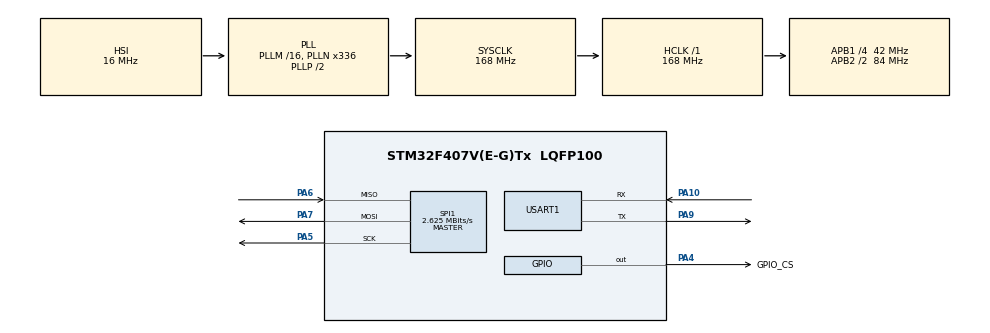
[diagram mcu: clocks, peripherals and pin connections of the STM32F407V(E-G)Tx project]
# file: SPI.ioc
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Mcu.Family=STM32F4
Mcu.Name=STM32F407V(E-G)Tx
Mcu.Package=LQFP100
NVIC.PriorityGroup=NVIC_PRIORITYGROUP_4
PA4.GPIO_Label=GPIO_CS
PA4.Signal=GPIO_Output
PA5.Mode=NSS_Signal_Hard_Or_Soft
PA5.Signal=SPI1_SCK
PA6.Mode=NSS_Signal_Hard_Or_Soft
PA6.Signal=SPI1_MISO
PA7.Mode=NSS_Signal_Hard_Or_Soft
PA7.Signal=SPI1_MOSI
PA9.Mode=Asynchronous
PA9.Signal=USART1_TX
PA10.Mode=Asynchronous
PA10.Signal=USART1_RX
PA13.Mode=Serial_Wire
PA13.Signal=SYS_JTMS-SWDIO
PA14.Mode=Serial_Wire
PA14.Signal=SYS_JTCK-SWCLK
ProjectManager.HeapSize=0x200
ProjectManager.StackSize=0x400
ProjectManager.TargetToolchain=MDK-ARM V5.32
RCC.AHBFreq_Value=168000000
RCC.APB1Freq_Value=42000000
RCC.APB1TimFreq_Value=84000000
RCC.APB2Freq_Value=84000000
RCC.APB2TimFreq_Value=168000000
RCC.HSE_VALUE=8000000
RCC.HSI_VALUE=16000000
RCC.LSE_VALUE=32768
RCC.PLLM=8
RCC.PLLN=336
RCC.PLLP=RCC_PLLP_DIV2
RCC.PLLQ=7
RCC.SYSCLKFreq_VALUE=168000000
RCC.SYSCLKSource=RCC_SYSCLKSOURCE_PLLCLK
RCC.VCOOutputFreq_Value=336000000
SPI1.CalculateBaudRate=2.625 MBits/s
SPI1.Direction=SPI_DIRECTION_2LINES
SPI1.Mode=SPI_MODE_MASTER
SPI1.BaudRatePrescaler=SPI_BAUDRATEPRESCALER_32
SPI1.VirtualType=VM_MASTER
board=custom

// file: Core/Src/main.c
/* USER CODE BEGIN Header */
/**
  ******************************************************************************
  * @file           : main.c
  * @brief          : Main program body
  ******************************************************************************
  * @attention
  *
  * Copyright (c) 2026 STMicroelectronics.
  * All rights reserved.
  *
  * This software is licensed under terms that can be found in the LICENSE file
  * in the root directory of this software component.
  * If no LICENSE file comes with this software, it is provided AS-IS.
  *
  ******************************************************************************
  */
/* USER CODE END Header */
#include "main.h"
#include "gpio.h"
#include "spi.h"
#include "usart.h"

/* USER CODE BEGIN Includes */
#include "g356_driver.h"
/* USER CODE END Includes */

void SystemClock_Config(void);

/* USER CODE BEGIN 0 */

// ==========================================================================
// G356 SPI Receiver Demo
//
// This file only demonstrates how to call the reusable G356 driver
// (g356_driver.h/.c). If you're integrating G356 into your own product,
// you only need to copy g356_driver.h/.c — the retry loop, success/fail
// statistics, and pretty-printing below are demo-only and can be deleted.
//
// Wiring and protocol details: see g356_driver.h and ../README.md.
// ==========================================================================

// ==========================================
// 调试串口输出辅助函数 (避免依赖大体积的 C 库 printf 及其浮点支持)
// ==========================================
static void G356_UART_PrintString(const char *str)
{
    while (*str) {
        HAL_UART_Transmit(&huart1, (uint8_t *)str, 1, 10);
        str++;
    }
}

static void G356_UART_PrintUint(uint32_t val)
{
    char buf[12];
    int i = 11;
    buf[i] = '\0';
    if (val == 0) {
        G356_UART_PrintString("0");
        return;
    }
    while (val > 0) {
        i--;
        buf[i] = (val % 10) + '0';
        val /= 10;
    }
    G356_UART_PrintString(&buf[i]);
}

static void G356_UART_PrintHex8(uint8_t val)
{
    const char hex_chars[] = "0123456789ABCDEF";
    char buf[3];
    buf[0] = hex_chars[(val >> 4) & 0x0F];
    buf[1] = hex_chars[val & 0x0F];
    buf[2] = '\0';
    G356_UART_PrintString(buf);
}

static void G356_UART_PrintFloat(float val, int decimals)
{
    // 处理负数
    if (val < 0.0f) {
        G356_UART_PrintString("-");
        val = -val;
    }

    // 四舍五入处理
    float rounding = 0.5f;
    for (int d = 0; d < decimals; d++) {
        rounding /= 10.0f;
    }
    val += rounding;

    // 整数部分
    uint32_t int_part = (uint32_t)val;
    G356_UART_PrintUint(int_part);

    // 小数部分
    if (decimals > 0) {
        G356_UART_PrintString(".");
        float frac = val - (float)int_part;
        for (int d = 0; d < decimals; d++) {
            frac *= 10.0f;
            uint32_t digit = (uint32_t)frac;
            G356_UART_PrintUint(digit);
            frac -= (float)digit;
        }
    }
}

/* USER CODE END 0 */

int main(void)
{

  /* MCU Configuration--------------------------------------------------------*/

  /* Reset of all peripherals, Initializes the Flash interface and the Systick. */
  HAL_Init();

  /* Configure the system clock */
  SystemClock_Config();

  /* Initialize all configured peripherals */
  MX_GPIO_Init();
  MX_SPI1_Init();
  MX_USART1_UART_Init();
  /* USER CODE BEGIN 2 */

  HAL_Delay(1000); // 等待 G356 模块内部系统彻底启动并稳定

  G356_UART_PrintString("\r\n");
  G356_UART_PrintString("=========================================\r\n");
  G356_UART_PrintString("   G356 AHRS Module SPI Receiver Demo    \r\n");
  G356_UART_PrintString("   MCU: STM32F407VET6 | Baudrate: 115200 \r\n");
  G356_UART_PrintString("   Communication: SPI1 (Mode 0, 1.31MHz) \r\n");
  G356_UART_PrintString("=========================================\r\n");
  G356_UART_PrintString("Starting data reading...\r\n");

  uint16_t rx_frame_size = 0;
  uint8_t rx_raw_buf[G356_MAX_FRAME_SIZE]; // 原始接收缓冲区
  G356_Data_t g356_data;               // 解析后的姿态数据结构体
  uint32_t success_count = 0;          // 成功包计数
  uint32_t fail_count = 0;             // 失败包计数

  /* USER CODE END 2 */

  /* Infinite loop */
  while (1)
  {

    /* USER CODE BEGIN 3 */
    HAL_Delay(10); // 实现约 100Hz 的轮询读取速率

    // 尝试从 SPI 读取一个当前格式数据包 (带 2 次立即重试，消除主从机异步复位碰撞)
    bool read_ok = false;
    for (int retry = 0; retry < 3; retry++) {
        if (G356_ReadFrame(rx_raw_buf, &rx_frame_size)) {
            read_ok = true;
            break;
        }
        HAL_Delay(1); // 每次失败后等待从机复位/预装载完毕再试
    }

    if (read_ok) {
        success_count++;

        G356_ParseData(rx_raw_buf, &g356_data);

        // 每成功读取 20 次 (约 200ms) 打印一次数据，防止串口拥堵
        if (success_count % 20 == 0) {
            G356_UART_PrintString("ANG[R:");
            G356_UART_PrintFloat(g356_data.roll, 2);
            G356_UART_PrintString(", P:");
            G356_UART_PrintFloat(g356_data.pitch, 2);
            G356_UART_PrintString(", Y:");
            G356_UART_PrintFloat(g356_data.yaw, 2);

            G356_UART_PrintString("] deg | ACC[");
            G356_UART_PrintFloat(g356_data.accel_x, 3);
            G356_UART_PrintString(", ");
            G356_UART_PrintFloat(g356_data.accel_y, 3);
            G356_UART_PrintString(", ");
            G356_UART_PrintFloat(g356_data.accel_z, 3);

            G356_UART_PrintString("] g | GYR[");
            G356_UART_PrintFloat(g356_data.gyro_x, 1);
            G356_UART_PrintString(", ");
            G356_UART_PrintFloat(g356_data.gyro_y, 1);
            G356_UART_PrintString(", ");
            G356_UART_PrintFloat(g356_data.gyro_z, 1);

            G356_UART_PrintString("] dps | Temp:");
            G356_UART_PrintFloat(g356_data.temp, 1);
            G356_UART_PrintString(" C\r\n");
        }
    } else {
        fail_count++;

        // 每失败 100 次打印一次错误警告和最近一次读取到的前 4 字节数据，方便排查接线或模式问题
        if (fail_count % 100 == 0) {
            G356_UART_PrintString("[Warning] SPI read failed! Success: ");
            G356_UART_PrintUint(success_count);
            G356_UART_PrintString(", Fail: ");
            G356_UART_PrintUint(fail_count);
            G356_UART_PrintString(". Raw: [0x");
            G356_UART_PrintHex8(rx_raw_buf[0]);
            G356_UART_PrintString(", 0x");
            G356_UART_PrintHex8(rx_raw_buf[1]);
            G356_UART_PrintString(", 0x");
            G356_UART_PrintHex8(rx_raw_buf[2]);
            G356_UART_PrintString(", 0x");
            G356_UART_PrintHex8(rx_raw_buf[3]);
            G356_UART_PrintString("]\r\n");
        }
    }
  }
  /* USER CODE END 3 */
}

void SystemClock_Config(void)
{
  RCC_OscInitTypeDef RCC_OscInitStruct = {0};
  RCC_ClkInitTypeDef RCC_ClkInitStruct = {0};

  /** Configure the main internal regulator output voltage
  */
  __HAL_RCC_PWR_CLK_ENABLE();
  __HAL_PWR_VOLTAGESCALING_CONFIG(PWR_REGULATOR_VOLTAGE_SCALE1);

  /** Initializes the RCC Oscillators according to the specified parameters
  * in the RCC_OscInitTypeDef structure.
  */
  RCC_OscInitStruct.OscillatorType = RCC_OSCILLATORTYPE_HSI;
  RCC_OscInitStruct.HSIState = RCC_HSI_ON;
  RCC_OscInitStruct.HSICalibrationValue = RCC_HSICALIBRATION_DEFAULT;
  RCC_OscInitStruct.PLL.PLLState = RCC_PLL_ON;
  RCC_OscInitStruct.PLL.PLLSource = RCC_PLLSOURCE_HSI;
  RCC_OscInitStruct.PLL.PLLM = 16;
  RCC_OscInitStruct.PLL.PLLN = 336;
  RCC_OscInitStruct.PLL.PLLP = RCC_PLLP_DIV2;
  RCC_OscInitStruct.PLL.PLLQ = 7;
  if (HAL_RCC_OscConfig(&RCC_OscInitStruct) != HAL_OK)
  {
    Error_Handler();
  }

  /** Initializes the CPU, AHB and APB buses clocks
  */
  RCC_ClkInitStruct.ClockType = RCC_CLOCKTYPE_HCLK|RCC_CLOCKTYPE_SYSCLK
                              |RCC_CLOCKTYPE_PCLK1|RCC_CLOCKTYPE_PCLK2;
  RCC_ClkInitStruct.SYSCLKSource = RCC_SYSCLKSOURCE_PLLCLK;
  RCC_ClkInitStruct.AHBCLKDivider = RCC_SYSCLK_DIV1;
  RCC_ClkInitStruct.APB1CLKDivider = RCC_HCLK_DIV4;
  RCC_ClkInitStruct.APB2CLKDivider = RCC_HCLK_DIV2;

  if (HAL_RCC_ClockConfig(&RCC_ClkInitStruct, FLASH_LATENCY_5) != HAL_OK)
  {
    Error_Handler();
  }
}

void Error_Handler(void)
{
  __disable_irq();
  while (1)
  {
  }
}
